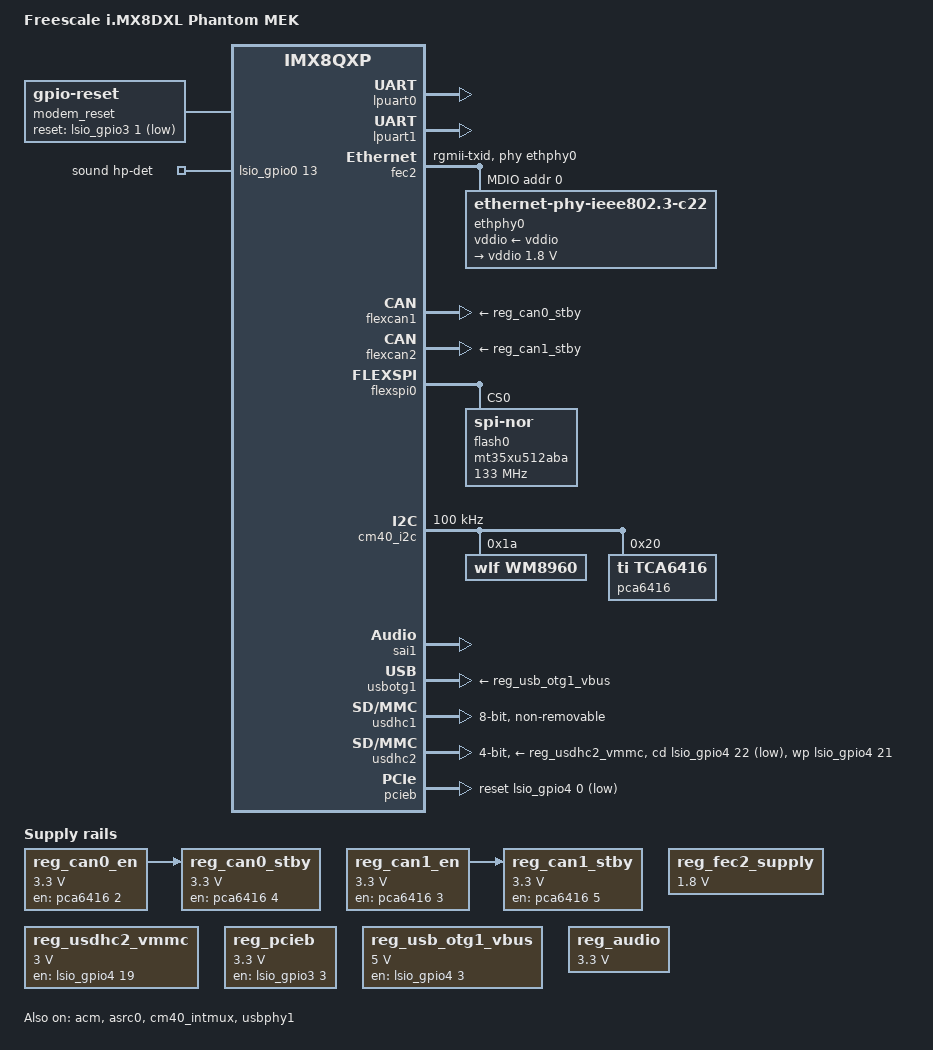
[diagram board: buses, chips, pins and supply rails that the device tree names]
// SPDX-License-Identifier: GPL-2.0+
/*
 * Copyright 2019 NXP
 */

/dts-v1/;

#include <dt-bindings/usb/pd.h>
#include "imx8qxp.dtsi"

/ {
	model = "Freescale i.MX8DXL Phantom MEK";
	compatible = "fsl,imx8dxl-phantom-mek", "fsl,imx8dxl-phantom", "fsl,imx8qxp";

	chosen {
		bootargs = "console=ttyLP0,115200 earlycon=lpuart32,0x5a060000,115200";
		stdout-path = &lpuart0;
	};

	modem_reset: modem-reset {
		compatible = "gpio-reset";
		pinctrl-names = "default", "sleep";
		pinctrl-0 = <&pinctrl_modem_reset>;
		pinctrl-1 = <&pinctrl_modem_reset_sleep>;
		reset-gpios = <&lsio_gpio3 1 GPIO_ACTIVE_LOW>;
		reset-delay-us = <2000>;
		reset-post-delay-ms = <40>;
		#reset-cells = <0>;
	};

	reserved-memory {
		#address-cells = <2>;
		#size-cells = <2>;
		ranges;

		/*
		 * 0x8800_0000 ~ 0x8FFF_FFFF is reserved for M4
		 * Shouldn't be used at A core and Linux side.
		 *
		 */
		m4_reserved: m4@88000000 {
			no-map;
			reg = <0 0x88000000 0 0x8000000>;
		};
	};

	regulators {
		compatible = "simple-bus";
		#address-cells = <1>;
		#size-cells = <0>;

		reg_can0_en: regulator-can0-gen {
			compatible = "regulator-fixed";
			regulator-name = "can0-en";
			regulator-min-microvolt = <3300000>;
			regulator-max-microvolt = <3300000>;
			gpio = <&pca6416 2 GPIO_ACTIVE_HIGH>;
			enable-active-high;
		};

		reg_can1_en: regulator-can1-gen {
			compatible = "regulator-fixed";
			regulator-name = "can1-en";
			regulator-min-microvolt = <3300000>;
			regulator-max-microvolt = <3300000>;
			gpio = <&pca6416 3 GPIO_ACTIVE_HIGH>;
			enable-active-high;
		};

		reg_can0_stby: regulator-can0-stby {
			compatible = "regulator-fixed";
			regulator-name = "can0-stby";
			regulator-min-microvolt = <3300000>;
			regulator-max-microvolt = <3300000>;
			gpio = <&pca6416 4 GPIO_ACTIVE_HIGH>;
			enable-active-high;
			vin-supply = <&reg_can0_en>;
		};

		reg_can1_stby: regulator-can1-stby {
			compatible = "regulator-fixed";
			regulator-name = "can1-stby";
			regulator-min-microvolt = <3300000>;
			regulator-max-microvolt = <3300000>;
			gpio = <&pca6416 5 GPIO_ACTIVE_HIGH>;
			enable-active-high;
			vin-supply = <&reg_can1_en>;
		};

		reg_fec2_supply: fec2_nvcc {
			compatible = "regulator-fixed";
			regulator-name = "fec2_nvcc";
			regulator-min-microvolt = <1800000>;
			regulator-max-microvolt = <1800000>;
			/*gpio = <&max7322 0 GPIO_ACTIVE_HIGH>; removing as i2c bus is changing in new board */
			enable-active-high;
		};

		reg_usdhc2_vmmc: usdhc2_vmmc {
			compatible = "regulator-fixed";
			regulator-name = "SD1_SPWR";
			regulator-min-microvolt = <3000000>;
			regulator-max-microvolt = <3000000>;
			gpio = <&lsio_gpio4 19 GPIO_ACTIVE_HIGH>;
			off-on-delay-us = <3480>;
			enable-active-high;
		};

		reg_pcieb: fixedregulator@100 {
			compatible = "regulator-fixed";
			pinctrl-names = "default", "sleep";
			pinctrl-0 = <&pinctrl_wlreg_on>;
			pinctrl-1 = <&pinctrl_wlreg_on_sleep>;
			regulator-min-microvolt = <3300000>;
			regulator-max-microvolt = <3300000>;
			regulator-name = "reg_pcieb";
			gpio = <&lsio_gpio3 3 GPIO_ACTIVE_HIGH>;
			enable-active-high;
			regulator-always-on;
		};

		reg_usb_otg1_vbus: regulator@0 {
			compatible = "regulator-fixed";
			pinctrl-names = "default";
			pinctrl-0 = <&pinctrl_reg_usb_vbus>;
			reg = <0>;
			regulator-name = "usb_otg1_vbus";
			regulator-min-microvolt = <5000000>;
			regulator-max-microvolt = <5000000>;
			gpio = <&lsio_gpio4 3 GPIO_ACTIVE_HIGH>;
			enable-active-high;
		};

		reg_audio: fixedregulator@2 {
			compatible = "regulator-fixed";
			reg = <2>;
			regulator-name = "cs42888_supply";
			regulator-min-microvolt = <3300000>;
			regulator-max-microvolt = <3300000>;
			regulator-always-on;
		};
	};

	sound: sound {
		compatible = "fsl,imx-audio-wm8960";
		model = "wm8960-audio";
		audio-cpu = <&sai1>;
		audio-codec = <&wm8960>;
		audio-asrc = <&asrc0>;
		hp-det-gpio = <&lsio_gpio0 13 0>;
		audio-routing =
			"Headphone Jack", "HP_L",
			"Headphone Jack", "HP_R",
			"Ext Spk", "SPK_LP",
			"Ext Spk", "SPK_LN",
			"Ext Spk", "SPK_RP",
			"Ext Spk", "SPK_RN",
			"LINPUT2", "Mic Jack",
			"LINPUT3", "Mic Jack",
			"RINPUT1", "AMIC",
			"RINPUT2", "AMIC",
			"Mic Jack", "MICB",
			"AMIC", "MICB";
	};
};

&lvds_subsys {
	status = "disabled";
};

&acm {
	status = "okay";
};

&asrc0 {
	fsl,asrc-rate  = <48000>;
	status = "okay";
};

&iomuxc {
	pinctrl-names = "default";
	pinctrl-0 = <&pinctrl_hog>;

	imx8dxl-phantom-mek {
		pinctrl_hog: hoggrp {
			fsl,pins = <
				IMX8QXP_MCLK_OUT0_ADMA_ACM_MCLK_OUT0		0x0600004c
				IMX8QXP_COMP_CTL_GPIO_1V8_3V3_ENET_ENETB0_PAD	0x000014a0
				IMX8QXP_COMP_CTL_GPIO_1V8_3V3_ENET_ENETB1_PAD	0x000014a0
			>;
		};

		pinctrl_esai0: esai0grp {
			fsl,pins = <
				IMX8QXP_ESAI0_FSR_ADMA_ESAI0_FSR		0xc6000040
				IMX8QXP_ESAI0_FST_ADMA_ESAI0_FST		0xc6000040
				IMX8QXP_ESAI0_SCKR_ADMA_ESAI0_SCKR		0xc6000040
				IMX8QXP_ESAI0_SCKT_ADMA_ESAI0_SCKT		0xc6000040
				IMX8QXP_ESAI0_TX0_ADMA_ESAI0_TX0		0xc6000040
				IMX8QXP_ESAI0_TX1_ADMA_ESAI0_TX1		0xc6000040
				IMX8QXP_ESAI0_TX2_RX3_ADMA_ESAI0_TX2_RX3	0xc6000040
				IMX8QXP_ESAI0_TX3_RX2_ADMA_ESAI0_TX3_RX2	0xc6000040
				IMX8QXP_ESAI0_TX4_RX1_ADMA_ESAI0_TX4_RX1	0xc6000040
				IMX8QXP_ESAI0_TX5_RX0_ADMA_ESAI0_TX5_RX0	0xc6000040
			>;
		};

		pinctrl_lpuart0: lpuart0grp {
			fsl,pins = <
				IMX8QXP_UART0_RX_ADMA_UART0_RX	0x06000020
				IMX8QXP_UART0_TX_ADMA_UART0_TX	0x06000020
			>;
		};

		pinctrl_lpuart1: lpuart1grp {
			fsl,pins = <
				IMX8QXP_UART1_TX_ADMA_UART1_TX		0x06000020
				IMX8QXP_UART1_RX_ADMA_UART1_RX		0x06000020
				IMX8QXP_UART1_RTS_B_ADMA_UART1_RTS_B	0x06000020
				IMX8QXP_UART1_CTS_B_ADMA_UART1_CTS_B	0x06000020
			>;
		};

		pinctrl_lpuart2: lpuart2grp {
			fsl,pins = <
				IMX8QXP_UART2_TX_ADMA_UART2_TX	0x06000020
				IMX8QXP_UART2_RX_ADMA_UART2_RX	0x06000020
			>;
		};

		pinctrl_fec2: fec2grp {
			fsl,pins = <
				IMX8QXP_COMP_CTL_GPIO_1V8_3V3_GPIORHB_PAD		0x000514a0
				IMX8QXP_ENET0_REFCLK_125M_25M_LSIO_GPIO5_IO09	0x06000021
				IMX8QXP_ENET0_MDC_CONN_ENET1_MDC			0x06000020
				IMX8QXP_ENET0_MDIO_CONN_ENET1_MDIO			0x06000020
				IMX8QXP_ESAI0_SCKR_CONN_ENET1_RGMII_TX_CTL		0x00000060
				IMX8QXP_ESAI0_FSR_CONN_ENET1_RGMII_TXC		0x00000060
				IMX8QXP_ESAI0_TX4_RX1_CONN_ENET1_RGMII_TXD0	0x00000060
				IMX8QXP_ESAI0_TX5_RX0_CONN_ENET1_RGMII_TXD1	0x00000060
				IMX8QXP_ESAI0_FST_CONN_ENET1_RGMII_TXD2		0x00000060
				IMX8QXP_ESAI0_SCKT_CONN_ENET1_RGMII_TXD3		0x00000060
				IMX8QXP_ESAI0_TX0_CONN_ENET1_RGMII_RXC		0x00000060
				IMX8QXP_SPDIF0_TX_CONN_ENET1_RGMII_RX_CTL		0x00000060
				IMX8QXP_SPDIF0_RX_CONN_ENET1_RGMII_RXD0		0x00000060
				IMX8QXP_ESAI0_TX3_RX2_CONN_ENET1_RGMII_RXD1	0x00000060
				IMX8QXP_ESAI0_TX2_RX3_CONN_ENET1_RGMII_RXD2	0x00000060
				IMX8QXP_ESAI0_TX1_CONN_ENET1_RGMII_RXD3		0x00000060
			>;
		};

		pinctrl_flexcan1: flexcan0grp {
			fsl,pins = <
				IMX8QXP_FLEXCAN0_TX_ADMA_FLEXCAN0_TX		0x21
				IMX8QXP_FLEXCAN0_RX_ADMA_FLEXCAN0_RX		0x21
			>;
		};

		pinctrl_flexcan2: flexcan1grp {
			fsl,pins = <
				IMX8QXP_UART2_TX_ADMA_FLEXCAN1_TX		0x21
				IMX8QXP_UART2_RX_ADMA_FLEXCAN1_RX		0x21
			>;
		};

		pinctrl_flexspi0: flexspi0grp {
			fsl,pins = <
				IMX8QXP_QSPI0A_DATA0_LSIO_QSPI0A_DATA0	0x06000021
				IMX8QXP_QSPI0A_DATA1_LSIO_QSPI0A_DATA1	0x06000021
				IMX8QXP_QSPI0A_DATA2_LSIO_QSPI0A_DATA2	0x06000021
				IMX8QXP_QSPI0A_DATA3_LSIO_QSPI0A_DATA3	0x06000021
				IMX8QXP_QSPI0A_DQS_LSIO_QSPI0A_DQS		0x06000021
				IMX8QXP_QSPI0A_SS0_B_LSIO_QSPI0A_SS0_B	0x06000021
				IMX8QXP_QSPI0A_SCLK_LSIO_QSPI0A_SCLK	0x06000021
				IMX8QXP_QSPI0B_SCLK_LSIO_QSPI0B_SCLK	0x06000021
				IMX8QXP_QSPI0B_DATA0_LSIO_QSPI0B_DATA0	0x06000021
				IMX8QXP_QSPI0B_DATA1_LSIO_QSPI0B_DATA1	0x06000021
				IMX8QXP_QSPI0B_DATA2_LSIO_QSPI0B_DATA2	0x06000021
				IMX8QXP_QSPI0B_DATA3_LSIO_QSPI0B_DATA3	0x06000021
			>;
		};

		pinctrl_cm40_i2c: cm40i2cgrp {
			fsl,pins = <
				IMX8QXP_ADC_IN1_M40_I2C0_SDA	0x0600004c
				IMX8QXP_ADC_IN0_M40_I2C0_SCL	0x0600004c
			>;
		};

		pinctrl_ioexp_rst_sleep: ioexp_rst_sleep_grp {
			fsl,pins = <
				IMX8QXP_SPI2_SDO_LSIO_GPIO1_IO01	0x07800021
			>;
		};

		pinctrl_modem_reset: modemresetgrp {
			fsl,pins = <
				IMX8QXP_CSI_MCLK_LSIO_GPIO3_IO01	0x06000021
			>;
		};

		pinctrl_modem_reset_sleep: modemreset_sleepgrp {
			fsl,pins = <
				IMX8QXP_CSI_MCLK_LSIO_GPIO3_IO01	0x07800021
			>;
		};

		pinctrl_sai1: sai1grp {
			fsl,pins = <
				IMX8QXP_FLEXCAN1_TX_ADMA_SAI1_RXD	0x06000040
				IMX8QXP_FLEXCAN2_TX_ADMA_SAI1_RXC	0x06000040
				IMX8QXP_FLEXCAN2_RX_ADMA_SAI1_RXFS	0x06000040
				IMX8QXP_FLEXCAN1_RX_ADMA_SAI1_TXD	0x06000060
				IMX8QXP_SPI3_SCK_LSIO_GPIO0_IO13	0x06000040
			>;
		};

		pinctrl_usdhc1: usdhc1grp {
			fsl,pins = <
				IMX8QXP_EMMC0_CLK_CONN_EMMC0_CLK		0x06000041
				IMX8QXP_EMMC0_CMD_CONN_EMMC0_CMD		0x00000021
				IMX8QXP_EMMC0_DATA0_CONN_EMMC0_DATA0	0x00000021
				IMX8QXP_EMMC0_DATA1_CONN_EMMC0_DATA1	0x00000021
				IMX8QXP_EMMC0_DATA2_CONN_EMMC0_DATA2	0x00000021
				IMX8QXP_EMMC0_DATA3_CONN_EMMC0_DATA3	0x00000021
				IMX8QXP_EMMC0_DATA4_CONN_EMMC0_DATA4	0x00000021
				IMX8QXP_EMMC0_DATA5_CONN_EMMC0_DATA5	0x00000021
				IMX8QXP_EMMC0_DATA6_CONN_EMMC0_DATA6	0x00000021
				IMX8QXP_EMMC0_DATA7_CONN_EMMC0_DATA7	0x00000021
				IMX8QXP_EMMC0_STROBE_CONN_EMMC0_STROBE	0x00000041
			>;
		};
		pinctrl_reg_usb_vbus: regusbvbusgrp {
			fsl,pins = <
				IMX8QXP_USB_SS3_TC0_LSIO_GPIO4_IO03	0x06000021
			>;
		};

		pinctrl_usdhc1_100mhz: usdhc1grp100mhz {
			fsl,pins = <
				IMX8QXP_EMMC0_CLK_CONN_EMMC0_CLK		0x06000041
				IMX8QXP_EMMC0_CMD_CONN_EMMC0_CMD		0x00000021
				IMX8QXP_EMMC0_DATA0_CONN_EMMC0_DATA0	0x00000021
				IMX8QXP_EMMC0_DATA1_CONN_EMMC0_DATA1	0x00000021
				IMX8QXP_EMMC0_DATA2_CONN_EMMC0_DATA2	0x00000021
				IMX8QXP_EMMC0_DATA3_CONN_EMMC0_DATA3	0x00000021
				IMX8QXP_EMMC0_DATA4_CONN_EMMC0_DATA4	0x00000021
				IMX8QXP_EMMC0_DATA5_CONN_EMMC0_DATA5	0x00000021
				IMX8QXP_EMMC0_DATA6_CONN_EMMC0_DATA6	0x00000021
				IMX8QXP_EMMC0_DATA7_CONN_EMMC0_DATA7	0x00000021
				IMX8QXP_EMMC0_STROBE_CONN_EMMC0_STROBE	0x00000041
			>;
		};

		pinctrl_usdhc1_200mhz: usdhc1grp200mhz {
			fsl,pins = <
				IMX8QXP_EMMC0_CLK_CONN_EMMC0_CLK		0x06000041
				IMX8QXP_EMMC0_CMD_CONN_EMMC0_CMD		0x00000021
				IMX8QXP_EMMC0_DATA0_CONN_EMMC0_DATA0	0x00000021
				IMX8QXP_EMMC0_DATA1_CONN_EMMC0_DATA1	0x00000021
				IMX8QXP_EMMC0_DATA2_CONN_EMMC0_DATA2	0x00000021
				IMX8QXP_EMMC0_DATA3_CONN_EMMC0_DATA3	0x00000021
				IMX8QXP_EMMC0_DATA4_CONN_EMMC0_DATA4	0x00000021
				IMX8QXP_EMMC0_DATA5_CONN_EMMC0_DATA5	0x00000021
				IMX8QXP_EMMC0_DATA6_CONN_EMMC0_DATA6	0x00000021
				IMX8QXP_EMMC0_DATA7_CONN_EMMC0_DATA7	0x00000021
				IMX8QXP_EMMC0_STROBE_CONN_EMMC0_STROBE	0x00000041
			>;
		};

		pinctrl_usdhc2_gpio: usdhc2gpiogrp {
			fsl,pins = <
				IMX8QXP_USDHC1_RESET_B_LSIO_GPIO4_IO19	0x00000021
				IMX8QXP_USDHC1_WP_LSIO_GPIO4_IO21		0x00000021
				IMX8QXP_USDHC1_CD_B_LSIO_GPIO4_IO22	0x00000021
			>;
		};

		pinctrl_usdhc2: usdhc2grp {
			fsl,pins = <
				IMX8QXP_ENET0_RGMII_RXC_CONN_USDHC1_CLK	0x06000041
				IMX8QXP_ENET0_RGMII_RX_CTL_CONN_USDHC1_CMD	0x00000021
				IMX8QXP_ENET0_RGMII_RXD0_CONN_USDHC1_DATA0	0x00000021
				IMX8QXP_ENET0_RGMII_RXD1_CONN_USDHC1_DATA1	0x00000021
				IMX8QXP_ENET0_RGMII_RXD2_CONN_USDHC1_DATA2	0x00000021
				IMX8QXP_ENET0_RGMII_RXD3_CONN_USDHC1_DATA3	0x00000021
				IMX8QXP_USDHC1_VSELECT_CONN_USDHC1_VSELECT	0x00000021
			>;
		};

		pinctrl_usdhc2_100mhz: usdhc2grp100mhz {
			fsl,pins = <
				IMX8QXP_ENET0_RGMII_RXC_CONN_USDHC1_CLK	0x06000041
				IMX8QXP_ENET0_RGMII_RX_CTL_CONN_USDHC1_CMD	0x00000021
				IMX8QXP_ENET0_RGMII_RXD0_CONN_USDHC1_DATA0	0x00000021
				IMX8QXP_ENET0_RGMII_RXD1_CONN_USDHC1_DATA1	0x00000021
				IMX8QXP_ENET0_RGMII_RXD2_CONN_USDHC1_DATA2	0x00000021
				IMX8QXP_ENET0_RGMII_RXD3_CONN_USDHC1_DATA3	0x00000021
				IMX8QXP_USDHC1_VSELECT_CONN_USDHC1_VSELECT	0x00000021
			>;
		};

		pinctrl_usdhc2_200mhz: usdhc2grp200mhz {
			fsl,pins = <
				IMX8QXP_ENET0_RGMII_RXC_CONN_USDHC1_CLK	0x06000041
				IMX8QXP_ENET0_RGMII_RX_CTL_CONN_USDHC1_CMD	0x00000021
				IMX8QXP_ENET0_RGMII_RXD0_CONN_USDHC1_DATA0	0x00000021
				IMX8QXP_ENET0_RGMII_RXD1_CONN_USDHC1_DATA1	0x00000021
				IMX8QXP_ENET0_RGMII_RXD2_CONN_USDHC1_DATA2	0x00000021
				IMX8QXP_ENET0_RGMII_RXD3_CONN_USDHC1_DATA3	0x00000021
				IMX8QXP_USDHC1_VSELECT_CONN_USDHC1_VSELECT	0x00000021
			>;
		};

		pinctrl_pcieb: pcieagrp{
			fsl,pins = <
				IMX8QXP_PCIE_CTRL0_PERST_B_LSIO_GPIO4_IO00		0x06000021
				IMX8QXP_PCIE_CTRL0_CLKREQ_B_LSIO_GPIO4_IO01	0x06000021
				IMX8QXP_PCIE_CTRL0_WAKE_B_LSIO_GPIO4_IO02		0x04000021
				IMX8QXP_CSI_PCLK_LSIO_GPIO3_IO00				0x06000021
				IMX8QXP_EMMC0_RESET_B_LSIO_GPIO4_IO18			0x06000021
			>;
		};

		pinctrl_gpio3: gpio3grp{
			fsl,pins = <
				IMX8QXP_MIPI_CSI0_GPIO0_01_LSIO_GPIO3_IO07		0xC0000041
				IMX8QXP_MIPI_CSI0_GPIO0_00_LSIO_GPIO3_IO08		0xC0000041
			>;
		};

		pinctrl_wlreg_on: wlregongrp{
			fsl,pins = <
				IMX8QXP_CSI_RESET_LSIO_GPIO3_IO03		0x06000000
			>;
		};

		pinctrl_wlreg_on_sleep: wlregon_sleepgrp{
			fsl,pins = <
				IMX8QXP_CSI_RESET_LSIO_GPIO3_IO03		0x07800000
			>;
		};
	};
};

&lpuart0 {
	pinctrl-names = "default";
	pinctrl-0 = <&pinctrl_lpuart0>;
	status = "okay";
};

&lpuart1 {
	pinctrl-names = "default";
	pinctrl-0 = <&pinctrl_lpuart1>;
	resets = <&modem_reset>;
	status = "okay";
};


&fec2 {
	pinctrl-names = "default";
	pinctrl-0 = <&pinctrl_fec2>;
	phy-mode = "rgmii-txid";
	phy-handle = <&ethphy0>;
	phy-reset-gpio=<&lsio_gpio5 9 GPIO_ACTIVE_HIGH>;
	fsl,magic-packet;
	nvmem-cells = <&fec_mac1>;
	nvmem-cell-names = "mac-address";
	rx-internal-delay-ps = <2000>;
	status = "okay";

	mdio {
		#address-cells = <1>;
		#size-cells = <0>;

		ethphy0: ethernet-phy@0 {
			compatible = "ethernet-phy-ieee802.3-c22";
			reg = <0>;
			qca,disable-smarteee;
			vddio-supply = <&vddio>;

			vddio: vddio-regulator {
				regulator-min-microvolt = <1800000>;
				regulator-max-microvolt = <1800000>;
			};
		};
	};
};

&flexcan1 {
	pinctrl-names = "default";
	pinctrl-0 = <&pinctrl_flexcan1>;
	xceiver-supply = <&reg_can0_stby>;
	status = "okay";
};

&flexcan2 {
	pinctrl-names = "default";
	pinctrl-0 = <&pinctrl_flexcan2>;
	xceiver-supply = <&reg_can1_stby>;
	status = "okay";
};

&flexspi0 {
	pinctrl-names = "default";
	pinctrl-0 = <&pinctrl_flexspi0>;
	status = "okay";

	flash0: mt35xu512aba@0 {
		reg = <0>;
		#address-cells = <1>;
		#size-cells = <1>;
		compatible = "jedec,spi-nor";
		spi-max-frequency = <133000000>;
		spi-tx-bus-width = <1>;
		spi-rx-bus-width = <8>;
	};
};

&cm40_intmux {
	status = "okay";
};

&cm40_i2c {
	#address-cells = <1>;
	#size-cells = <0>;
	clock-frequency = <100000>;
	pinctrl-names = "default";
	pinctrl-0 = <&pinctrl_cm40_i2c>;
	status = "okay";

	wm8960: wm8960@1a {
		compatible = "wlf,wm8960";
		reg = <0x1a>;
		clocks = <&mclkout0_lpcg 0>;
		clock-names = "mclk";
		wlf,shared-lrclk;
		wlf,hp-cfg = <2 2 3>;
		wlf,gpio-cfg = <1 3>;
		assigned-clocks = <&clk IMX_SC_R_AUDIO_PLL_0 IMX_SC_PM_CLK_PLL>,
				<&clk IMX_SC_R_AUDIO_PLL_0 IMX_SC_PM_CLK_SLV_BUS>,
				<&clk IMX_SC_R_AUDIO_PLL_0 IMX_SC_PM_CLK_MST_BUS>,
				<&mclkout0_lpcg 0>;
		assigned-clock-rates = <786432000>, <49152000>, <12288000>, <12288000>;
	};

	pca6416: gpio@20 {
		compatible = "ti,tca6416";
		reg = <0x20>;
		gpio-controller;
		#gpio-cells = <2>;
	};

};

&sai1 {
	assigned-clocks = <&clk IMX_SC_R_AUDIO_PLL_0 IMX_SC_PM_CLK_PLL>,
			<&clk IMX_SC_R_AUDIO_PLL_0 IMX_SC_PM_CLK_SLV_BUS>,
			<&clk IMX_SC_R_AUDIO_PLL_0 IMX_SC_PM_CLK_MST_BUS>,
			<&sai1_lpcg 0>; /* FIXME: should be sai1, original code is 0 */
	assigned-clock-rates = <786432000>, <49152000>, <12288000>, <49152000>;
	pinctrl-names = "default";
	pinctrl-0 = <&pinctrl_sai1>;
	fsl,sai-synchronous-rx;
	status = "okay";
};

&usbotg1 {
	vbus-supply = <&reg_usb_otg1_vbus>;
	srp-disable;
	hnp-disable;
	adp-disable;
	power-polarity-active-high;
	disable-over-current;
	status = "okay";
};

&usbphy1 {
	fsl,tx-d-cal = <114>;
	status = "okay";
};

&usdhc1 {
	pinctrl-names = "default", "state_100mhz", "state_200mhz";
	pinctrl-0 = <&pinctrl_usdhc1>;
	pinctrl-1 = <&pinctrl_usdhc1_100mhz>;
	pinctrl-2 = <&pinctrl_usdhc1_200mhz>;
	bus-width = <8>;
	non-removable;
	status = "okay";
};

&usdhc2 {
	pinctrl-names = "default", "state_100mhz", "state_200mhz";
	pinctrl-0 = <&pinctrl_usdhc2>, <&pinctrl_usdhc2_gpio>;
	pinctrl-1 = <&pinctrl_usdhc2_100mhz>, <&pinctrl_usdhc2_gpio>;
	pinctrl-2 = <&pinctrl_usdhc2_200mhz>, <&pinctrl_usdhc2_gpio>;
	bus-width = <4>;
	cd-gpios = <&lsio_gpio4 22 GPIO_ACTIVE_LOW>;
	wp-gpios = <&lsio_gpio4 21 GPIO_ACTIVE_HIGH>;
	vmmc-supply = <&reg_usdhc2_vmmc>;
	status = "okay";
};

&lsio_gpio3 {
	pinctrl-name = "default";
	pinctrl-0 = <&pinctrl_gpio3>;
};

&tsens {
	tsens-num = <3>;
};

&thermal_zones {
	cpu0-thermal {
		cooling-maps {
			map0 {
				cooling-device =
				<&A35_0 THERMAL_NO_LIMIT THERMAL_NO_LIMIT>,
				<&A35_1 THERMAL_NO_LIMIT THERMAL_NO_LIMIT>;
			};
		};
	};
};

&thermal_zones {
	pmic-thermal0 {
		polling-delay-passive = <250>;
		polling-delay = <2000>;
		thermal-sensors = <&tsens 497>;
		trips {
			pmic_alert0: trip0 {
				temperature = <110000>;
				hysteresis = <2000>;
				type = "passive";
			};
			pmic_crit0: trip1 {
				temperature = <125000>;
				hysteresis = <2000>;
				type = "critical";
			};
		};
		cooling-maps {
			map0 {
				trip = <&pmic_alert0>;
				cooling-device =
					<&A35_0 THERMAL_NO_LIMIT THERMAL_NO_LIMIT>,
					<&A35_1 THERMAL_NO_LIMIT THERMAL_NO_LIMIT>;
			};
		};
	};
};

&a35_opp_table {
	/delete-node/ opp-900000000;
};

&cpus {
	/delete-node/ cpu@2;
	/delete-node/ cpu@3;
};

&pcieb{
	compatible = "fsl,imx8qxp-pcie","snps,dw-pcie";
	pinctrl-names = "default";
	pinctrl-0 = <&pinctrl_pcieb>;
	reset-gpio = <&lsio_gpio4 0 GPIO_ACTIVE_LOW>;
	vpcie-supply = <&reg_pcieb>;
	ext_osc = <1>;
	status = "okay";
};
